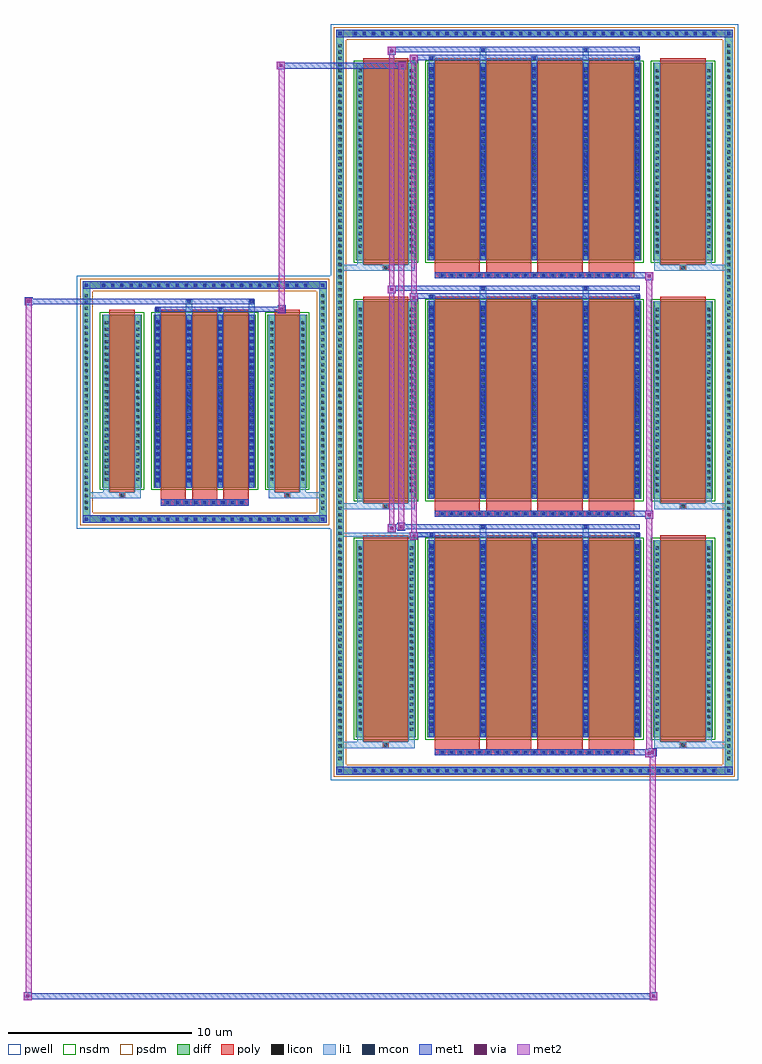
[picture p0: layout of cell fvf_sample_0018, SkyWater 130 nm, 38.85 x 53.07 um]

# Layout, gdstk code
import gdstk
lib = gdstk.Library(unit=1e-6, precision=1e-09)
def R(c, l, rs):  # rectangles x0, y0, x1, y1
    for r in rs: c.add(gdstk.rectangle(r[:2], r[2:], *l))
def A(c, l, x, y, w, h, nx, ny, dx, dy):  # array of equal rectangles
    R(c, l, [(x+i*dx, y+j*dy, x+i*dx+w, y+j*dy+h) for i in range(nx) for j in range(ny)])
def P(c, l, *ps):  # polygons
    for p in ps: c.add(gdstk.Polygon(p, *l))
pwell = (64, 44)
diff = (65, 20)
poly = (66, 20)
licon = (66, 44)
li1 = (67, 20)
mcon = (67, 44)
met1 = (68, 20)
via = (68, 44)
met2 = (69, 20)
nsdm = (93, 44)
psdm = (94, 20)

fvf_sample_0018 = lib.new_cell('fvf_sample_0018')
R(fvf_sample_0018, pwell, [(6.846,-20.56,29.012,20.56), (-6.946,-6.875,6.946,6.875)])
A(fvf_sample_0018, diff, 7.974, -20.25, 0.41, 0.41, 40, 2, 0.5, 40.09)
A(fvf_sample_0018, diff, 7.156, -19.585, 0.41, 0.41, 1, 115, 0, 0.34)
A(fvf_sample_0018, diff, 28.292, -19.585, 0.41, 0.41, 1, 115, 0, 0.34)
A(fvf_sample_0018, diff, 8.226, -18.229, 3.246, 10.728, 1, 3, 0, 12.973)
A(fvf_sample_0018, diff, 12.112, -18.229, 11.634, 10.728, 1, 3, 0, 12.973)
A(fvf_sample_0018, diff, 24.386, -18.229, 3.246, 10.728, 1, 3, 0, 12.973)
A(fvf_sample_0018, diff, -5.705, -6.565, 0.41, 0.41, 23, 2, 0.5, 12.72)
A(fvf_sample_0018, diff, -6.636, -5.985, 0.41, 0.41, 1, 35, 0, 0.34)
A(fvf_sample_0018, diff, 6.226, -5.985, 0.41, 0.41, 1, 35, 0, 0.34)
R(fvf_sample_0018, diff, [(7.974,-20.25,27.884,-19.84), (7.156,-19.585,7.566,19.585), (28.292,-19.585,28.702,19.585), (-5.705,-6.565,5.705,-6.155), (-6.636,-5.985,-6.226,5.985), (6.226,-5.985,6.636,5.985), (-5.565,-4.644,-3.415,4.76), (-2.775,-4.644,2.775,4.76), (3.415,-4.644,5.565,4.76), (-5.705,6.155,5.705,6.565), (7.974,19.84,27.884,20.25)])
P(fvf_sample_0018, diff, [(6.636,6.565),(-6.636,6.565),(-6.636,-6.155),(-6.226,-6.155),(-6.226,6.155),(6.226,6.155),(6.226,-6.155),(-6.226,-6.155),(-6.636,-6.155),(-6.636,-6.565),(6.636,-6.565)],
  [(28.702,20.25),(7.156,20.25),(7.156,-19.84),(7.566,-19.84),(7.566,19.84),(28.292,19.84),(28.292,-19.84),(7.566,-19.84),(7.156,-19.84),(7.156,-20.25),(28.702,-20.25)])
A(fvf_sample_0018, poly, 12.502, -19.209, 10.854, 0.33, 1, 3, 0, 12.973)
A(fvf_sample_0018, poly, 12.764, -19.209, 0.33, 0.33, 21, 3, 0.5, 12.973)
A(fvf_sample_0018, poly, 12.502, -18.879, 2.466, 0.4, 4, 3, 2.796, 12.973)
A(fvf_sample_0018, poly, 8.616, -18.479, 2.466, 11.228, 1, 3, 0, 12.973)
A(fvf_sample_0018, poly, 12.502, -18.479, 2.466, 11.228, 4, 3, 2.796, 12.973)
A(fvf_sample_0018, poly, 24.776, -18.479, 2.466, 11.228, 1, 3, 0, 12.973)
A(fvf_sample_0018, poly, -2.165, -5.624, 0.33, 0.33, 9, 1, 0.5, 0)
A(fvf_sample_0018, poly, -2.385, -5.294, 1.37, 0.4, 3, 1, 1.7, 0)
A(fvf_sample_0018, poly, -2.385, -4.894, 1.37, 9.904, 3, 1, 1.7, 0)
R(fvf_sample_0018, poly, [(9.684,-18.809,10.014,-18.479), (9.684,-18.809,10.014,-18.479), (25.844,-18.809,26.174,-18.479), (25.844,-18.809,26.174,-18.479), (9.684,-5.836,10.014,-5.506), (9.684,-5.836,10.014,-5.506), (25.844,-5.836,26.174,-5.506), (25.844,-5.836,26.174,-5.506), (-2.385,-5.624,2.385,-5.294), (-4.655,-5.224,-4.325,-4.894), (-4.655,-5.224,-4.325,-4.894), (4.325,-5.224,4.655,-4.894), (4.325,-5.224,4.655,-4.894), (-5.175,-4.894,-3.805,5.01), (3.805,-4.894,5.175,5.01), (9.684,7.137,10.014,7.467), (9.684,7.137,10.014,7.467), (25.844,7.137,26.174,7.467), (25.844,7.137,26.174,7.467)])
A(fvf_sample_0018, licon, 8.094, -20.13, 0.17, 0.17, 40, 2, 0.5, 40.09)
A(fvf_sample_0018, licon, 7.276, -19.465, 0.17, 0.17, 1, 115, 0, 0.34)
A(fvf_sample_0018, licon, 28.412, -19.465, 0.17, 0.17, 1, 115, 0, 0.34)
A(fvf_sample_0018, licon, 12.844, -19.129, 0.17, 0.17, 21, 3, 0.5, 12.973)
A(fvf_sample_0018, licon, 9.764, -18.729, 0.17, 0.17, 1, 3, 0, 12.973)
A(fvf_sample_0018, licon, 25.924, -18.729, 0.17, 0.17, 1, 3, 0, 12.973)
A(fvf_sample_0018, licon, 8.366, -17.88, 0.17, 0.17, 1, 30, 0, 0.34)
A(fvf_sample_0018, licon, 11.162, -17.88, 0.17, 0.17, 1, 30, 0, 0.34)
A(fvf_sample_0018, licon, 12.252, -17.88, 0.17, 0.17, 5, 30, 2.796, 0.34)
A(fvf_sample_0018, licon, 24.526, -17.88, 0.17, 0.17, 1, 30, 0, 0.34)
A(fvf_sample_0018, licon, 27.322, -17.88, 0.17, 0.17, 1, 30, 0, 0.34)
A(fvf_sample_0018, licon, -5.585, -6.445, 0.17, 0.17, 23, 2, 0.5, 12.72)
A(fvf_sample_0018, licon, -6.516, -5.865, 0.17, 0.17, 1, 35, 0, 0.34)
A(fvf_sample_0018, licon, 6.346, -5.865, 0.17, 0.17, 1, 35, 0, 0.34)
A(fvf_sample_0018, licon, -2.085, -5.544, 0.17, 0.17, 9, 1, 0.5, 0)
A(fvf_sample_0018, licon, 8.366, -4.907, 0.17, 0.17, 1, 30, 0, 0.34)
A(fvf_sample_0018, licon, 11.162, -4.907, 0.17, 0.17, 1, 30, 0, 0.34)
A(fvf_sample_0018, licon, 12.252, -4.907, 0.17, 0.17, 5, 30, 2.796, 0.34)
A(fvf_sample_0018, licon, 24.526, -4.907, 0.17, 0.17, 1, 30, 0, 0.34)
A(fvf_sample_0018, licon, 27.322, -4.907, 0.17, 0.17, 1, 30, 0, 0.34)
A(fvf_sample_0018, licon, -5.425, -4.277, 0.17, 0.17, 1, 26, 0, 0.34)
A(fvf_sample_0018, licon, -3.725, -4.277, 0.17, 0.17, 1, 26, 0, 0.34)
A(fvf_sample_0018, licon, -2.635, -4.277, 0.17, 0.17, 4, 26, 1.7, 0.34)
A(fvf_sample_0018, licon, 3.555, -4.277, 0.17, 0.17, 1, 26, 0, 0.34)
A(fvf_sample_0018, licon, 5.255, -4.277, 0.17, 0.17, 1, 26, 0, 0.34)
A(fvf_sample_0018, licon, 8.366, 8.066, 0.17, 0.17, 1, 30, 0, 0.34)
A(fvf_sample_0018, licon, 11.162, 8.066, 0.17, 0.17, 1, 30, 0, 0.34)
A(fvf_sample_0018, licon, 12.252, 8.066, 0.17, 0.17, 5, 30, 2.796, 0.34)
A(fvf_sample_0018, licon, 24.526, 8.066, 0.17, 0.17, 1, 30, 0, 0.34)
A(fvf_sample_0018, licon, 27.322, 8.066, 0.17, 0.17, 1, 30, 0, 0.34)
R(fvf_sample_0018, licon, [(-4.575,-5.144,-4.405,-4.974), (4.405,-5.144,4.575,-4.974)])
A(fvf_sample_0018, li1, 8.014, -20.21, 0.33, 0.33, 40, 2, 0.5, 40.09)
A(fvf_sample_0018, li1, 7.196, -19.545, 0.33, 0.33, 1, 115, 0, 0.34)
A(fvf_sample_0018, li1, 28.332, -19.545, 0.33, 0.33, 1, 115, 0, 0.34)
A(fvf_sample_0018, li1, 12.764, -19.209, 0.33, 0.33, 21, 3, 0.5, 12.973)
A(fvf_sample_0018, li1, 7.156, -18.809, 2.528, 0.33, 1, 3, 0, 12.973)
A(fvf_sample_0018, li1, 8.286, -18.809, 0.33, 0.58, 1, 3, 0, 12.973)
A(fvf_sample_0018, li1, 8.286, -18.809, 1.398, 0.33, 1, 3, 0, 12.973)
A(fvf_sample_0018, li1, 9.684, -18.809, 0.33, 0.33, 1, 3, 0, 12.973)
A(fvf_sample_0018, li1, 10.014, -18.809, 1.398, 0.33, 1, 3, 0, 12.973)
A(fvf_sample_0018, li1, 11.082, -18.809, 0.33, 0.58, 1, 3, 0, 12.973)
A(fvf_sample_0018, li1, 24.446, -18.809, 0.33, 0.58, 1, 3, 0, 12.973)
A(fvf_sample_0018, li1, 24.446, -18.809, 1.398, 0.33, 1, 3, 0, 12.973)
A(fvf_sample_0018, li1, 25.844, -18.809, 0.33, 0.33, 1, 3, 0, 12.973)
A(fvf_sample_0018, li1, 25.844, -18.809, 2.858, 0.33, 1, 3, 0, 12.973)
A(fvf_sample_0018, li1, 26.174, -18.809, 1.398, 0.33, 1, 3, 0, 12.973)
A(fvf_sample_0018, li1, 27.242, -18.809, 0.33, 0.58, 1, 3, 0, 12.973)
A(fvf_sample_0018, li1, 8.286, -18.229, 0.33, 10.728, 1, 3, 0, 12.973)
A(fvf_sample_0018, li1, 11.082, -18.229, 0.33, 10.728, 1, 3, 0, 12.973)
A(fvf_sample_0018, li1, 12.172, -18.229, 0.33, 10.728, 5, 3, 2.796, 12.973)
A(fvf_sample_0018, li1, 24.446, -18.229, 0.33, 10.728, 1, 3, 0, 12.973)
A(fvf_sample_0018, li1, 27.242, -18.229, 0.33, 10.728, 1, 3, 0, 12.973)
A(fvf_sample_0018, li1, 12.252, -17.99, 0.17, 0.17, 5, 29, 2.796, 0.36)
A(fvf_sample_0018, li1, 12.252, -17.99, 0.17, 10.25, 5, 3, 2.796, 12.973)
A(fvf_sample_0018, li1, 8.286, -17.96, 0.33, 0.33, 1, 30, 0, 0.34)
A(fvf_sample_0018, li1, 11.082, -17.96, 0.33, 0.33, 1, 30, 0, 0.34)
A(fvf_sample_0018, li1, 12.172, -17.96, 0.33, 0.33, 5, 30, 2.796, 0.34)
A(fvf_sample_0018, li1, 24.446, -17.96, 0.33, 0.33, 1, 30, 0, 0.34)
A(fvf_sample_0018, li1, 27.242, -17.96, 0.33, 0.33, 1, 30, 0, 0.34)
A(fvf_sample_0018, li1, 12.172, -7.501, 0.33, 0.375, 3, 3, 5.592, 12.973)
A(fvf_sample_0018, li1, 14.968, -7.501, 0.33, 0.805, 1, 3, 0, 12.973)
A(fvf_sample_0018, li1, 20.56, -7.501, 0.33, 0.805, 1, 3, 0, 12.973)
A(fvf_sample_0018, li1, 12.252, -7.296, 0.17, 0.17, 3, 3, 5.592, 12.973)
A(fvf_sample_0018, li1, 15.048, -6.866, 0.17, 0.17, 1, 3, 0, 12.973)
A(fvf_sample_0018, li1, 20.64, -6.866, 0.17, 0.17, 1, 3, 0, 12.973)
A(fvf_sample_0018, li1, -5.665, -6.525, 0.33, 0.33, 23, 2, 0.5, 12.72)
A(fvf_sample_0018, li1, -6.596, -5.945, 0.33, 0.33, 1, 35, 0, 0.34)
A(fvf_sample_0018, li1, 6.266, -5.945, 0.33, 0.33, 1, 35, 0, 0.34)
A(fvf_sample_0018, li1, -2.165, -5.624, 0.33, 0.33, 9, 1, 0.5, 0)
A(fvf_sample_0018, li1, 12.252, -5.017, 0.17, 0.17, 5, 29, 2.796, 0.36)
A(fvf_sample_0018, li1, 8.286, -4.987, 0.33, 0.33, 1, 30, 0, 0.34)
A(fvf_sample_0018, li1, 11.082, -4.987, 0.33, 0.33, 1, 30, 0, 0.34)
A(fvf_sample_0018, li1, 12.172, -4.987, 0.33, 0.33, 5, 30, 2.796, 0.34)
A(fvf_sample_0018, li1, 24.446, -4.987, 0.33, 0.33, 1, 30, 0, 0.34)
A(fvf_sample_0018, li1, 27.242, -4.987, 0.33, 0.33, 1, 30, 0, 0.34)
A(fvf_sample_0018, li1, -2.715, -4.644, 0.33, 9.404, 4, 1, 1.7, 0)
A(fvf_sample_0018, li1, -5.505, -4.357, 0.33, 0.33, 1, 26, 0, 0.34)
A(fvf_sample_0018, li1, -3.805, -4.357, 0.33, 0.33, 1, 26, 0, 0.34)
A(fvf_sample_0018, li1, -2.715, -4.357, 0.33, 0.33, 4, 26, 1.7, 0.34)
A(fvf_sample_0018, li1, 3.475, -4.357, 0.33, 0.33, 1, 26, 0, 0.34)
A(fvf_sample_0018, li1, 5.175, -4.357, 0.33, 0.33, 1, 26, 0, 0.34)
A(fvf_sample_0018, li1, -2.635, -4.347, 0.17, 0.17, 4, 25, 1.7, 0.36)
A(fvf_sample_0018, li1, -2.635, -4.347, 0.17, 8.81, 4, 1, 1.7, 0)
A(fvf_sample_0018, li1, 12.252, 7.956, 0.17, 0.17, 5, 29, 2.796, 0.36)
A(fvf_sample_0018, li1, 8.286, 7.986, 0.33, 0.33, 1, 30, 0, 0.34)
A(fvf_sample_0018, li1, 11.082, 7.986, 0.33, 0.33, 1, 30, 0, 0.34)
A(fvf_sample_0018, li1, 12.172, 7.986, 0.33, 0.33, 5, 30, 2.796, 0.34)
A(fvf_sample_0018, li1, 24.446, 7.986, 0.33, 0.33, 1, 30, 0, 0.34)
A(fvf_sample_0018, li1, 27.242, 7.986, 0.33, 0.33, 1, 30, 0, 0.34)
R(fvf_sample_0018, li1, [(7.156,-20.25,7.566,-19.84), (28.292,-20.25,28.702,-19.84), (8.014,-20.21,27.844,-19.88), (7.276,-20.13,7.446,-19.96), (7.276,-20.13,7.446,-19.96), (28.412,-20.13,28.582,-19.96), (28.412,-20.13,28.582,-19.96), (7.156,-19.84,7.566,19.84), (28.292,-19.84,28.702,19.84), (12.192,-7.356,12.482,-7.066), (7.156,-7.311,12.192,-7.111), (12.252,-7.296,12.422,-7.126), (-6.636,-6.565,-6.226,-6.155), (6.226,-6.565,6.636,-6.155), (-5.665,-6.525,5.665,-6.195), (-6.516,-6.445,-6.346,-6.275), (-6.516,-6.445,-6.346,-6.275), (6.346,-6.445,6.516,-6.275), (6.346,-6.445,6.516,-6.275), (-6.636,-6.155,-6.226,6.155), (6.226,-6.155,6.636,6.155), (-6.636,-5.224,-4.655,-4.894), (-5.505,-5.224,-4.655,-4.894), (-5.505,-5.224,-5.175,-4.644), (-4.655,-5.224,-4.325,-4.894), (-4.325,-5.224,-3.475,-4.894), (-3.805,-5.224,-3.475,-4.644), (3.475,-5.224,4.325,-4.894), (3.475,-5.224,3.805,-4.644), (4.325,-5.224,4.655,-4.894), (4.325,-5.224,6.636,-4.894), (4.655,-5.224,5.505,-4.894), (5.175,-5.224,5.505,-4.644), (-5.505,-4.644,-5.175,4.76), (-3.805,-4.644,-3.475,4.76), (3.475,-4.644,3.805,4.76), (5.175,-4.644,5.505,4.76), (-2.715,4.76,-2.385,5.135), (-1.015,4.76,-0.685,5.565), (0.685,4.76,1.015,5.135), (2.385,4.76,2.715,5.565), (-2.635,4.965,-2.465,5.135), (0.765,4.965,0.935,5.135), (-0.935,5.395,-0.765,5.565), (2.465,5.395,2.635,5.565), (-6.636,6.155,-6.226,6.565), (6.226,6.155,6.636,6.565), (-5.665,6.195,5.665,6.525), (-6.516,6.275,-6.346,6.445), (-6.516,6.275,-6.346,6.445), (6.346,6.275,6.516,6.445), (6.346,6.275,6.516,6.445), (7.156,19.84,7.566,20.25), (28.292,19.84,28.702,20.25), (8.014,19.88,27.844,20.21), (7.276,19.96,7.446,20.13), (7.276,19.96,7.446,20.13), (28.412,19.96,28.582,20.13), (28.412,19.96,28.582,20.13)])
A(fvf_sample_0018, mcon, 8.094, -20.13, 0.17, 0.17, 40, 2, 0.5, 40.09)
A(fvf_sample_0018, mcon, 12.844, -19.129, 0.17, 0.17, 21, 3, 0.5, 12.973)
A(fvf_sample_0018, mcon, 12.252, -17.99, 0.17, 0.17, 5, 29, 2.796, 0.36)
A(fvf_sample_0018, mcon, 12.252, -7.296, 0.17, 0.17, 3, 3, 5.592, 12.973)
A(fvf_sample_0018, mcon, 15.048, -6.866, 0.17, 0.17, 1, 3, 0, 12.973)
A(fvf_sample_0018, mcon, 20.64, -6.866, 0.17, 0.17, 1, 3, 0, 12.973)
A(fvf_sample_0018, mcon, -5.585, -6.445, 0.17, 0.17, 23, 2, 0.5, 12.72)
A(fvf_sample_0018, mcon, -2.085, -5.544, 0.17, 0.17, 9, 1, 0.5, 0)
A(fvf_sample_0018, mcon, 12.252, -5.017, 0.17, 0.17, 5, 29, 2.796, 0.36)
A(fvf_sample_0018, mcon, -2.635, -4.347, 0.17, 0.17, 4, 25, 1.7, 0.36)
A(fvf_sample_0018, mcon, 12.252, 7.956, 0.17, 0.17, 5, 29, 2.796, 0.36)
R(fvf_sample_0018, mcon, [(7.276,-20.13,7.446,-19.96), (28.412,-20.13,28.582,-19.96), (12.252,-7.296,12.422,-7.126), (-6.516,-6.445,-6.346,-6.275), (6.346,-6.445,6.516,-6.275), (-2.635,4.965,-2.465,5.135), (0.765,4.965,0.935,5.135), (-0.935,5.395,-0.765,5.565), (2.465,5.395,2.635,5.565), (-6.516,6.275,-6.346,6.445), (6.346,6.275,6.516,6.445), (7.276,19.96,7.446,20.13), (28.412,19.96,28.582,20.13)])
A(fvf_sample_0018, met1, 8.034, -20.19, 0.29, 0.29, 40, 2, 0.5, 40.09)
A(fvf_sample_0018, met1, 12.502, -19.209, 10.854, 0.33, 1, 3, 0, 12.973)
A(fvf_sample_0018, met1, 12.784, -19.189, 0.29, 0.29, 21, 3, 0.5, 12.973)
A(fvf_sample_0018, met1, 12.192, -18.229, 0.29, 10.728, 5, 3, 2.796, 12.973)
A(fvf_sample_0018, met1, 12.192, -18.05, 0.29, 0.29, 5, 29, 2.796, 0.36)
A(fvf_sample_0018, met1, 12.192, -7.356, 0.29, 0.29, 3, 3, 5.592, 12.973)
A(fvf_sample_0018, met1, 14.988, -6.926, 0.29, 0.29, 1, 3, 0, 12.973)
A(fvf_sample_0018, met1, 20.58, -6.926, 0.29, 0.29, 1, 3, 0, 12.973)
A(fvf_sample_0018, met1, -5.645, -6.505, 0.29, 0.29, 23, 2, 0.5, 12.72)
A(fvf_sample_0018, met1, -2.145, -5.604, 0.29, 0.29, 9, 1, 0.5, 0)
A(fvf_sample_0018, met1, 12.192, -5.077, 0.29, 0.29, 5, 29, 2.796, 0.36)
A(fvf_sample_0018, met1, -2.695, -4.644, 0.29, 9.404, 4, 1, 1.7, 0)
A(fvf_sample_0018, met1, -2.695, -4.407, 0.29, 0.29, 4, 25, 1.7, 0.36)
A(fvf_sample_0018, met1, 12.192, 7.896, 0.29, 0.29, 5, 29, 2.796, 0.36)
R(fvf_sample_0018, met1, [(-9.835,-32.51,-9.405,-32.08), (24.191,-32.51,24.621,-32.08), (-9.835,-32.46,24.621,-32.13), (-9.835,-32.13,-9.405,-32.08), (24.191,-32.13,24.621,-32.08), (7.156,-20.25,7.566,-19.84), (7.156,-20.25,7.566,-19.84), (7.566,-20.25,28.292,-19.84), (28.292,-20.25,28.702,-19.84), (28.292,-20.25,28.702,-19.84), (7.216,-20.19,7.506,-19.9), (28.352,-20.19,28.642,-19.9), (23.956,-19.309,24.386,-18.879), (24.141,-19.259,24.571,-18.829), (23.356,-19.209,24.141,-18.879), (23.356,-19.209,24.386,-18.879), (11.162,-7.496,11.592,-7.066), (11.162,-7.356,12.192,-7.066), (12.192,-7.356,12.482,-7.066), (12.192,-7.356,23.666,-7.066), (9.962,-7.066,10.392,-6.636), (10.477,-6.996,10.907,-6.566), (9.962,-6.926,12.192,-6.636), (10.907,-6.926,12.192,-6.636), (12.192,-6.926,23.666,-6.636), (-6.636,-6.565,-6.226,-6.155), (-6.636,-6.565,-6.226,-6.155), (-6.226,-6.565,6.226,-6.155), (6.226,-6.565,6.636,-6.155), (6.226,-6.565,6.636,-6.155), (-6.576,-6.505,-6.286,-6.215), (6.286,-6.505,6.576,-6.215), (23.956,-6.336,24.386,-5.906), (23.956,-6.336,24.386,-5.906), (23.356,-6.236,24.386,-5.906), (23.356,-6.236,24.386,-5.906), (-2.385,-5.624,2.385,-5.294), (3.98,4.835,4.41,5.265), (-2.695,4.905,-2.405,5.195), (-2.695,4.905,2.695,5.195), (0.705,4.905,0.995,5.195), (2.695,4.905,3.98,5.195), (-9.785,5.265,-9.355,5.695), (-9.355,5.335,-2.695,5.625), (-2.695,5.335,2.695,5.625), (-0.995,5.335,-0.705,5.625), (2.405,5.335,2.695,5.625), (11.162,5.477,11.592,5.907), (11.162,5.477,11.592,5.907), (11.162,5.617,12.192,5.907), (11.162,5.617,12.192,5.907), (12.192,5.617,23.666,5.907), (9.962,5.907,10.392,6.337), (9.962,5.907,10.392,6.337), (9.962,6.047,12.192,6.337), (9.962,6.047,12.192,6.337), (12.192,6.047,23.666,6.337), (-6.636,6.155,-6.226,6.565), (-6.636,6.155,-6.226,6.565), (-6.226,6.155,6.226,6.565), (6.226,6.155,6.636,6.565), (6.226,6.155,6.636,6.565), (-6.576,6.215,-6.286,6.505), (6.286,6.215,6.576,6.505), (23.956,6.637,24.386,7.067), (23.356,6.737,24.386,7.067), (3.93,18.086,4.36,18.516), (10.527,18.086,10.957,18.516), (3.93,18.136,10.957,18.466), (11.162,18.45,11.592,18.88), (3.93,18.466,4.36,18.516), (10.527,18.466,10.957,18.516), (11.162,18.59,12.192,18.88), (12.192,18.59,23.666,18.88), (9.962,18.88,10.392,19.31), (9.962,19.02,12.192,19.31), (12.192,19.02,23.666,19.31), (7.156,19.84,7.566,20.25), (7.156,19.84,7.566,20.25), (7.566,19.84,28.292,20.25), (28.292,19.84,28.702,20.25), (28.292,19.84,28.702,20.25), (7.216,19.9,7.506,20.19), (28.352,19.9,28.642,20.19)])
R(fvf_sample_0018, via, [(-9.695,-32.37,-9.545,-32.22), (24.331,-32.37,24.481,-32.22), (24.096,-19.169,24.246,-19.019), (24.281,-19.119,24.431,-18.969), (11.302,-7.356,11.452,-7.206), (10.102,-6.926,10.252,-6.776), (10.617,-6.856,10.767,-6.706), (24.096,-6.196,24.246,-6.046), (24.096,-6.196,24.246,-6.046), (4.12,4.975,4.27,5.125), (-9.645,5.405,-9.495,5.555), (11.302,5.617,11.452,5.767), (11.302,5.617,11.452,5.767), (10.102,6.047,10.252,6.197), (10.102,6.047,10.252,6.197), (24.096,6.777,24.246,6.927), (4.07,18.226,4.22,18.376), (10.667,18.226,10.817,18.376), (11.302,18.59,11.452,18.74), (10.102,19.02,10.252,19.17)])
R(fvf_sample_0018, met2, [(-9.835,-32.51,-9.405,-32.08), (-9.735,-32.51,-9.405,5.315), (24.191,-32.51,24.621,-32.08), (24.191,-32.51,24.521,-19.209), (-9.785,-32.46,-9.455,-32.13), (24.241,-32.46,24.571,-32.13), (23.956,-19.309,24.386,-18.879), (24.006,-19.309,24.336,-5.906), (24.336,-19.309,24.386,-18.879), (24.006,-19.259,24.336,-18.929), (24.191,-19.209,24.521,-18.879), (11.162,-7.496,11.592,-7.066), (11.232,-7.496,11.522,5.907), (11.522,-7.496,11.592,-7.066), (11.212,-7.446,11.542,-7.116), (9.962,-7.066,10.392,-6.636), (10.032,-7.066,10.322,6.337), (10.322,-7.066,10.392,-6.636), (10.012,-7.016,10.342,-6.686), (10.527,-6.946,10.857,-6.616), (10.527,-6.616,10.857,18.516), (23.956,-6.336,24.386,-5.906), (23.956,-6.336,24.386,-5.906), (24.006,-6.336,24.336,7.067), (24.336,-6.336,24.386,-5.906), (24.336,-6.336,24.386,-5.906), (24.006,-6.286,24.336,-5.956), (24.006,-6.286,24.336,-5.956), (4.03,4.885,4.36,5.215), (4.03,5.215,4.36,18.516), (-9.735,5.315,-9.405,5.645), (11.162,5.477,11.592,5.907), (11.162,5.477,11.592,5.907), (11.232,5.477,11.522,18.88), (11.522,5.477,11.592,5.907), (11.522,5.477,11.592,5.907), (11.212,5.527,11.542,5.857), (11.212,5.527,11.542,5.857), (9.962,5.907,10.392,6.337), (9.962,5.907,10.392,6.337), (10.032,5.907,10.322,19.31), (10.322,5.907,10.392,6.337), (10.322,5.907,10.392,6.337), (10.012,5.957,10.342,6.287), (10.012,5.957,10.342,6.287), (23.956,6.637,24.386,7.067), (24.336,6.637,24.386,7.067), (24.006,6.687,24.336,7.017), (3.93,18.086,4.36,18.516), (10.527,18.086,10.957,18.516), (3.98,18.136,4.31,18.466), (10.577,18.136,10.907,18.466), (11.162,18.45,11.592,18.88), (11.522,18.45,11.592,18.88), (11.212,18.5,11.542,18.83), (9.962,18.88,10.392,19.31), (10.322,18.88,10.392,19.31), (10.012,18.93,10.342,19.26)])
A(fvf_sample_0018, nsdm, 8.096, -18.359, 3.506, 10.988, 1, 3, 0, 12.973)
A(fvf_sample_0018, nsdm, 11.982, -18.359, 11.894, 10.988, 1, 3, 0, 12.973)
A(fvf_sample_0018, nsdm, 24.256, -18.359, 3.506, 10.988, 1, 3, 0, 12.973)
R(fvf_sample_0018, nsdm, [(-5.695,-4.774,-3.285,4.89), (-2.905,-4.774,2.905,4.89), (3.285,-4.774,5.695,4.89)])
P(fvf_sample_0018, psdm, [(6.766,6.695),(-6.766,6.695),(-6.766,-6.025),(-6.096,-6.025),(-6.096,6.025),(6.096,6.025),(6.096,-6.025),(-6.096,-6.025),(-6.766,-6.025),(-6.766,-6.695),(6.766,-6.695)],
  [(28.832,20.38),(7.026,20.38),(7.026,-19.71),(7.696,-19.71),(7.696,19.71),(28.162,19.71),(28.162,-19.71),(7.696,-19.71),(7.026,-19.71),(7.026,-20.38),(28.832,-20.38)])

lib.write_gds('fvf_sample_0018.gds')
